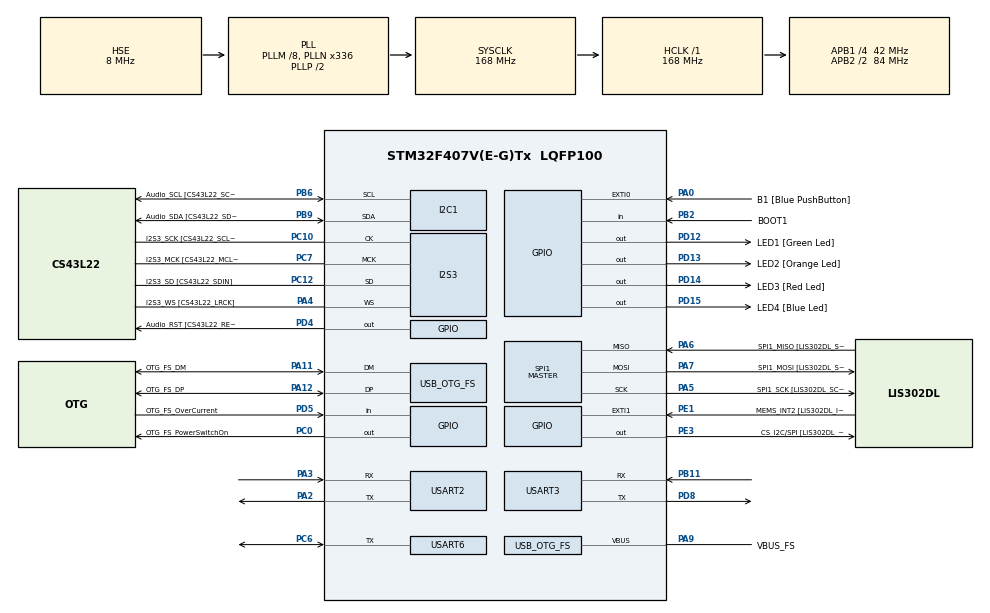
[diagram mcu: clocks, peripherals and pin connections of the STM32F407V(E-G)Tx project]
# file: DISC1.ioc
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I2S3.AudioFreq-Half_Duplex_Master=I2S_AUDIOFREQ_96K
I2S3.ErrorAudioFreq=-2.34 %
I2S3.ErrorAudioFreq-Half_Duplex_Master=0.8 %
I2S3.FullDuplexMode=I2S_FULLDUPLEXMODE_DISABLE
I2S3.Instance=SPI$Index
I2S3.RealAudioFreq=93.75 KHz
I2S3.RealAudioFreq-Half_Duplex_Master=96.774 KHz
I2S3.VirtualMode=I2S_MODE_MASTER
Mcu.Family=STM32F4
Mcu.Name=STM32F407V(E-G)Tx
Mcu.Package=LQFP100
NVIC.OTG_FS_IRQn=true\:0\:0\:false\:false\:true\:true\:true\:true
NVIC.PriorityGroup=NVIC_PRIORITYGROUP_0
NVIC.USART2_IRQn=true\:0\:0\:false\:false\:true\:true\:true\:true
NVIC.USART3_IRQn=true\:0\:0\:false\:false\:true\:true\:true\:true
NVIC.USART6_IRQn=true\:0\:0\:false\:false\:true\:true\:true\:true
PA0-WKUP.GPIO_Label=B1 [Blue PushButton]
PA0-WKUP.GPIO_ModeDefaultEXTI=GPIO_MODE_EVT_RISING
PA0-WKUP.GPIO_PuPd=GPIO_NOPULL
PA0-WKUP.Signal=GPXTI0
PA10.GPIO_Label=OTG_FS_ID
PA10.GPIO_Mode=GPIO_MODE_AF_PP
PA10.GPIO_PuPd=GPIO_NOPULL
PA10.GPIO_Speed=GPIO_SPEED_FREQ_LOW
PA10.Signal=USB_OTG_FS_ID
PA11.GPIO_Label=OTG_FS_DM
PA11.GPIO_Mode=GPIO_MODE_AF_PP
PA11.GPIO_PuPd=GPIO_NOPULL
PA11.GPIO_Speed=GPIO_SPEED_FREQ_LOW
PA11.Mode=Host_Only
PA11.Signal=USB_OTG_FS_DM
PA12.GPIO_Label=OTG_FS_DP
PA12.GPIO_Mode=GPIO_MODE_AF_PP
PA12.GPIO_PuPd=GPIO_NOPULL
PA12.GPIO_Speed=GPIO_SPEED_FREQ_LOW
PA12.Mode=Host_Only
PA12.Signal=USB_OTG_FS_DP
PA13.GPIO_Label=SWDIO
PA13.Mode=Serial_Wire
PA13.Signal=SYS_JTMS-SWDIO
PA14.GPIO_Label=SWCLK
PA14.Mode=Serial_Wire
PA14.Signal=SYS_JTCK-SWCLK
PA2.Mode=Asynchronous
PA2.Signal=USART2_TX
PA3.Mode=Asynchronous
PA3.Signal=USART2_RX
PA4.GPIO_Label=I2S3_WS [CS43L22_LRCK]
PA4.GPIO_Mode=GPIO_MODE_AF_PP
PA4.GPIO_PuPd=GPIO_NOPULL
PA4.GPIO_Speed=GPIO_SPEED_FREQ_LOW
PA4.Mode=Half_Duplex_Master
PA4.Signal=I2S3_WS
PA5.GPIO_Label=SPI1_SCK [LIS302DL_SCL/SPC]
PA5.GPIO_Mode=GPIO_MODE_AF_PP
PA5.GPIO_PuPd=GPIO_NOPULL
PA5.GPIO_Speed=GPIO_SPEED_FREQ_LOW
PA5.Mode=Full_Duplex_Master
PA5.Signal=SPI1_SCK
PA6.GPIO_Label=SPI1_MISO [LIS302DL_SDO]
PA6.GPIO_Mode=GPIO_MODE_AF_PP
PA6.GPIO_PuPd=GPIO_NOPULL
PA6.GPIO_Speed=GPIO_SPEED_FREQ_LOW
PA6.Mode=Full_Duplex_Master
PA6.Signal=SPI1_MISO
PA7.GPIO_Label=SPI1_MOSI [LIS302DL_SDA/SDI/SDO]
PA7.GPIO_Mode=GPIO_MODE_AF_PP
PA7.GPIO_PuPd=GPIO_NOPULL
PA7.GPIO_Speed=GPIO_SPEED_FREQ_LOW
PA7.Mode=Full_Duplex_Master
PA7.Signal=SPI1_MOSI
PA9.GPIO_Label=VBUS_FS
PA9.GPIO_Mode=GPIO_MODE_INPUT
PA9.GPIO_PuPd=GPIO_NOPULL
PA9.Mode=Activate_VBUS
PA9.Signal=USB_OTG_FS_VBUS
PB10.GPIO_Label=CLK_IN [MP45DT02_CLK]
PB10.GPIO_Mode=GPIO_MODE_AF_PP
PB10.GPIO_PuPd=GPIO_NOPULL
PB10.GPIO_Speed=GPIO_SPEED_FREQ_LOW
PB10.Signal=I2S2_CK
PB11.Mode=Asynchronous
PB11.Signal=USART3_RX
PB2.GPIO_Label=BOOT1
PB2.GPIO_Mode=GPIO_MODE_INPUT
PB2.GPIO_PuPd=GPIO_NOPULL
PB2.Signal=GPIO_Input
PB3.GPIO_Label=SWO
PB3.Signal=SYS_JTDO-SWO
PB6.GPIO_Label=Audio_SCL [CS43L22_SCL]
PB6.GPIO_Mode=GPIO_MODE_AF_OD
PB6.GPIO_Pu=GPIO_PULLUP
PB6.GPIO_PuPd=GPIO_NOPULL
PB6.GPIO_Speed=GPIO_SPEED_FREQ_LOW
PB6.Mode=I2C
PB6.Signal=I2C1_SCL
PB9.GPIO_Label=Audio_SDA [CS43L22_SDA]
PB9.GPIO_Mode=GPIO_MODE_AF_OD
PB9.GPIO_Pu=GPIO_PULLUP
PB9.GPIO_PuPd=GPIO_NOPULL
PB9.GPIO_Speed=GPIO_SPEED_FREQ_LOW
PB9.Mode=I2C
PB9.Signal=I2C1_SDA
PC0.GPIO_Label=OTG_FS_PowerSwitchOn
PC0.GPIO_PuPd=GPIO_NOPULL
PC0.GPIO_Speed=GPIO_SPEED_FREQ_LOW
PC0.PinState=GPIO_PIN_SET
PC0.Signal=GPIO_Output
PC10.GPIO_Label=I2S3_SCK [CS43L22_SCLK]
PC10.GPIO_Mode=GPIO_MODE_AF_PP
PC10.GPIO_PuPd=GPIO_NOPULL
PC10.GPIO_Speed=GPIO_SPEED_FREQ_LOW
PC10.Mode=Half_Duplex_Master
PC10.Signal=I2S3_CK
PC12.GPIO_Label=I2S3_SD [CS43L22_SDIN]
PC12.GPIO_Mode=GPIO_MODE_AF_PP
PC12.GPIO_PuPd=GPIO_NOPULL
PC12.GPIO_Speed=GPIO_SPEED_FREQ_LOW
PC12.Mode=Half_Duplex_Master
PC12.Signal=I2S3_SD
PC14-OSC32_IN.GPIO_Label=PC14-OSC32_IN
PC14-OSC32_IN.Mode=LSE-External-Oscillator
PC14-OSC32_IN.Signal=RCC_OSC32_IN
PC15-OSC32_OUT.GPIO_Label=PC15-OSC32_OUT
PC15-OSC32_OUT.Mode=LSE-External-Oscillator
PC15-OSC32_OUT.Signal=RCC_OSC32_OUT
PC3.GPIO_Label=PDM_OUT [MP45DT02_DOUT]
PC3.GPIO_Mode=GPIO_MODE_AF_PP
PC3.GPIO_PuPd=GPIO_NOPULL
PC3.GPIO_Speed=GPIO_SPEED_FREQ_LOW
PC3.Signal=I2S2_SD
PC6.Mode=Half_duplex(single_wire_mode)
PC6.Signal=USART6_TX
PC7.GPIO_Label=I2S3_MCK [CS43L22_MCLK]
PC7.GPIO_Mode=GPIO_MODE_AF_PP
PC7.GPIO_PuPd=GPIO_NOPULL
PC7.GPIO_Speed=GPIO_SPEED_FREQ_LOW
PC7.Mode=Master_Clock_Activated
PC7.Signal=I2S3_MCK
PD12.GPIO_Label=LED1 [Green Led]
PD12.GPIO_PuPd=GPIO_NOPULL
PD12.GPIO_Speed=GPIO_SPEED_FREQ_LOW
PD12.Signal=GPIO_Output
PD13.GPIO_Label=LED2 [Orange Led]
PD13.GPIO_PuPd=GPIO_NOPULL
PD13.GPIO_Speed=GPIO_SPEED_FREQ_LOW
PD13.Signal=GPIO_Output
PD14.GPIO_Label=LED3 [Red Led]
PD14.GPIO_PuPd=GPIO_NOPULL
PD14.GPIO_Speed=GPIO_SPEED_FREQ_LOW
PD14.Signal=GPIO_Output
PD15.GPIO_Label=LED4 [Blue Led]
PD15.GPIO_PuPd=GPIO_NOPULL
PD15.GPIO_Speed=GPIO_SPEED_FREQ_LOW
PD15.Signal=GPIO_Output
PD4.GPIO_Label=Audio_RST [CS43L22_RESET]
PD4.GPIO_PuPd=GPIO_NOPULL
PD4.GPIO_Speed=GPIO_SPEED_FREQ_LOW
PD4.Signal=GPIO_Output
PD5.GPIO_Label=OTG_FS_OverCurrent
PD5.GPIO_Mode=GPIO_MODE_INPUT
PD5.GPIO_PuPd=GPIO_NOPULL
PD5.Signal=GPIO_Input
PD8.Mode=Asynchronous
PD8.Signal=USART3_TX
PE1.GPIO_Label=MEMS_INT2 [LIS302DL_INT2]
PE1.GPIO_ModeDefaultEXTI=GPIO_MODE_EVT_RISING
PE1.GPIO_PuPd=GPIO_NOPULL
PE1.Signal=GPXTI1
PE3.GPIO_Label=CS_I2C/SPI [LIS302DL_CS_I2C/SPI]
PE3.GPIO_PuPd=GPIO_NOPULL
PE3.GPIO_Speed=GPIO_SPEED_FREQ_LOW
PE3.Signal=GPIO_Output
PH0-OSC_IN.GPIO_Label=PH0-OSC_IN
PH0-OSC_IN.Mode=HSE-External-Oscillator
PH0-OSC_IN.Signal=RCC_OSC_IN
PH1-OSC_OUT.GPIO_Label=PH1-OSC_OUT
PH1-OSC_OUT.Mode=HSE-External-Oscillator
PH1-OSC_OUT.Signal=RCC_OSC_OUT
ProjectManager.HeapSize=0x200
ProjectManager.StackSize=0x400
ProjectManager.TargetToolchain=Makefile
RCC.48MHZClocksFreq_Value=48000000
RCC.AHBFreq_Value=168000000
RCC.APB1CLKDivider=RCC_HCLK_DIV4
RCC.APB1Freq_Value=42000000
RCC.APB1TimFreq_Value=84000000
RCC.APB2CLKDivider=RCC_HCLK_DIV2
RCC.APB2Freq_Value=84000000
RCC.APB2TimFreq_Value=168000000
RCC.CortexFreq_Value=168000000
RCC.HCLKFreq_Value=168000000
RCC.HSE_VALUE=8000000
RCC.HSI_VALUE=16000000
RCC.PLLM=8
RCC.PLLN=336
RCC.PLLQ=7
RCC.SYSCLKFreq_VALUE=168000000
RCC.SYSCLKSource=RCC_SYSCLKSOURCE_PLLCLK
RCC.VCOOutputFreq_Value=336000000
SPI1.BaudRatePrescaler-Full_Duplex_Master=SPI_BAUDRATEPRESCALER_2
SPI1.CalculateBaudRate-Full_Duplex_Master=42.0 MBits/s
SPI1.Direction=SPI_DIRECTION_2LINES
SPI1.Mode=SPI_MODE_MASTER
SPI1.Mode-Full_Duplex_Master=SPI_MODE_MASTER
SPI1.VirtualType=VM_MASTER
USART2.VirtualMode=VM_ASYNC
USART3.VirtualMode=VM_ASYNC
USART6.VirtualMode=VM_ASYNC
USB_HOST.BSP.number=1
USB_HOST.USBH_HandleTypeDef-CDC_FS=hUsbHostFS
USB_HOST.VirtualModeFS=Cdc
USB_HOST0.BSP.STBoard=false
USB_HOST0.BSP.api=Unknown
USB_HOST0.BSP.instance=PC0
USB_HOST0.BSP.ip=GPIO
USB_HOST0.BSP.mode=Output
USB_HOST0.BSP.name=Drive_VBUS_FS
USB_HOST0.BSP.solution=PC0
USB_OTG_FS.VirtualMode=Host_Only
USB_OTG_FS.phy_itface=HCD_PHY_EMBEDDED
VP_USB_HOST_VS_USB_HOST_CDC_FS.Mode=CDC_FS
board=STM32F407G-DISC1

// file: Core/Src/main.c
/* USER CODE BEGIN Header */
/**
  ******************************************************************************
  * @file           : main.c
  * @brief          : Main program body
  ******************************************************************************
  * @attention
  *
  * Copyright (c) 2025 STMicroelectronics.
  * All rights reserved.
  *
  * This software is licensed under terms that can be found in the LICENSE file
  * in the root directory of this software component.
  * If no LICENSE file comes with this software, it is provided AS-IS.
  *
  ******************************************************************************
  */
/* USER CODE END Header */
#include "main.h"
#include "i2c.h"
#include "i2s.h"
#include "spi.h"
#include "usart.h"
#include "usb_host.h"
#include "gpio.h"

/* USER CODE BEGIN Includes */
#include <stdio.h>
#include <stdlib.h>
#include <string.h>
/* USER CODE END Includes */

/* USER CODE BEGIN PD */

#define JOINT1_HOME 0
#define JOINT2_HOME 45
#define JOINT3_HOME 0
#define JOINT4_HOME 0
#define JOINT5_HOME 0
#define ACTUATOR_HOME 0
#define MAIN_UART &huart2
#define MAIN_UART_INSTANCE USART2

/* USER CODE END PD */

/* USER CODE BEGIN PV */
#define UART_BUFFER_SIZE 256
volatile uint8_t rx_byte;                        // For receiving single byte
volatile uint8_t uart_buffer[UART_BUFFER_SIZE];  // Circular buffer
volatile uint16_t buffer_index = 0;     // Index for storing data

volatile uint8_t uart_received = 0; // Flag to indicate a new message is available
volatile char received_string[UART_BUFFER_SIZE]; // Store the received string
volatile char previous_string[UART_BUFFER_SIZE]; // Store the received string

int joint1 = JOINT1_HOME;
int joint2 = JOINT2_HOME;
int joint3 = JOINT3_HOME;
int joint4 = JOINT4_HOME;
int joint5 = JOINT5_HOME;
int actuator = ACTUATOR_HOME;
int ledFlag = 0;

int prev_joint1, prev_joint2, prev_joint3, prev_joint4, prev_joint5, prev_actuator;

/* USER CODE END PV */

void SystemClock_Config(void);
void MX_USB_HOST_Process(void);

/* USER CODE BEGIN PFP */
#define PUTCHAR_PROTOTYPE int __io_putchar(int ch)

#define PUTCHAR_PROTOTYPE_USART3 int __io_putchar_usart3(int ch)
#define printf_usart3(...) do { \
    char buffer[256]; \
    int len = snprintf(buffer, sizeof(buffer), __VA_ARGS__); \
    for (int i = 0; i < len; i++) { \
        __io_putchar_usart3(buffer[i]); \
    } \
} while (0)

#define PUTCHAR_PROTOTYPE_USART6 int __io_putchar_usart6(int ch)
#define printf_usart6(...) do { \
    char buffer[256]; \
    int len = snprintf(buffer, sizeof(buffer), __VA_ARGS__); \
    for (int i = 0; i < len; i++) { \
        __io_putchar_usart6(buffer[i]); \
    } \
} while (0)
/* USER CODE END PFP */

int main(void)
{

  /* MCU Configuration--------------------------------------------------------*/

  /* Reset of all peripherals, Initializes the Flash interface and the Systick. */
  HAL_Init();

  /* Configure the system clock */
  SystemClock_Config();

  /* Initialize all configured peripherals */
  MX_GPIO_Init();
  MX_I2C1_Init();
  MX_I2S3_Init();
  MX_SPI1_Init();
  MX_USART2_UART_Init();
  MX_USART3_UART_Init();
  MX_USART6_UART_Init();
  MX_USB_HOST_Init();
  /* USER CODE BEGIN 2 */

  HAL_UART_Receive_IT(MAIN_UART, &rx_byte, 1); // Start receiving single bytes in interrupt mode
  // HomeSet(); // Set all joints to home position
  ToggleLEDs(1);
  printf("System Initialized\r\n");

  /* USER CODE END 2 */

  /* Infinite loop */
  while (1)
  {
    MX_USB_HOST_Process();
    ToggleLEDs(ledFlag);

  }
}

void SystemClock_Config(void)
{
  RCC_OscInitTypeDef RCC_OscInitStruct = {0};
  RCC_ClkInitTypeDef RCC_ClkInitStruct = {0};

  /** Configure the main internal regulator output voltage
  */
  __HAL_RCC_PWR_CLK_ENABLE();
  __HAL_PWR_VOLTAGESCALING_CONFIG(PWR_REGULATOR_VOLTAGE_SCALE1);

  /** Initializes the RCC Oscillators according to the specified parameters
  * in the RCC_OscInitTypeDef structure.
  */
  RCC_OscInitStruct.OscillatorType = RCC_OSCILLATORTYPE_HSE;
  RCC_OscInitStruct.HSEState = RCC_HSE_ON;
  RCC_OscInitStruct.PLL.PLLState = RCC_PLL_ON;
  RCC_OscInitStruct.PLL.PLLSource = RCC_PLLSOURCE_HSE;
  RCC_OscInitStruct.PLL.PLLM = 8;
  RCC_OscInitStruct.PLL.PLLN = 336;
  RCC_OscInitStruct.PLL.PLLP = RCC_PLLP_DIV2;
  RCC_OscInitStruct.PLL.PLLQ = 7;
  if (HAL_RCC_OscConfig(&RCC_OscInitStruct) != HAL_OK)
  {
    Error_Handler();
  }

  /** Initializes the CPU, AHB and APB buses clocks
  */
  RCC_ClkInitStruct.ClockType = RCC_CLOCKTYPE_HCLK|RCC_CLOCKTYPE_SYSCLK
                              |RCC_CLOCKTYPE_PCLK1|RCC_CLOCKTYPE_PCLK2;
  RCC_ClkInitStruct.SYSCLKSource = RCC_SYSCLKSOURCE_PLLCLK;
  RCC_ClkInitStruct.AHBCLKDivider = RCC_SYSCLK_DIV1;
  RCC_ClkInitStruct.APB1CLKDivider = RCC_HCLK_DIV4;
  RCC_ClkInitStruct.APB2CLKDivider = RCC_HCLK_DIV2;

  if (HAL_RCC_ClockConfig(&RCC_ClkInitStruct, FLASH_LATENCY_5) != HAL_OK)
  {
    Error_Handler();
  }
}

/* USER CODE BEGIN 4 */

/**
  * @brief  Retargets the C library printf function to the USART.
  * @retval None
  */
 PUTCHAR_PROTOTYPE
 {
   /* Place your implementation of fputc here */
   /* e.g. write a character to the USART1 and Loop until the end of transmission */
   HAL_UART_Transmit(MAIN_UART, (uint8_t *)&ch, 1, 0xFFFF);

   return ch;
 }

 PUTCHAR_PROTOTYPE_USART3
 {
    /* Place your implementation of fputc here */
    /* e.g. write a character to the USART3 and Loop until the end of transmission */
    HAL_UART_Transmit(&huart3, (uint8_t *)&ch, 1, 0xFFFF);

    return ch;
 }

 PUTCHAR_PROTOTYPE_USART6
 {
    /* Place your implementation of fputc here */
    /* e.g. write a character to the USART6 and Loop until the end of transmission */
    HAL_UART_Transmit(&huart6, (uint8_t *)&ch, 1, 0xFFFF);

    return ch;
 }

 void HAL_UART_RxCpltCallback(UART_HandleTypeDef *huart)
{

    if (huart->Instance == MAIN_UART_INSTANCE) // Correct UART instance
    {
        // Store received byte in buffer
        if (buffer_index < UART_BUFFER_SIZE - 1)
        {
            uart_buffer[buffer_index++] = rx_byte;

            // Check for newline or carriage return
            if (rx_byte == '\n')
            {
                uart_buffer[buffer_index] = '\0'; // Null-terminate the string
                buffer_index = 0;                // Reset the index for the next string

                // Copy received string to the global buffer for main loop access
                strcpy((char *)received_string, (char *)uart_buffer);

                if(strcmp("print", (char* )received_string)){
                  ProcessReceivedString((char *)received_string);
                  strcpy((char *)previous_string, (char *)received_string);
                }
                else if(strcmp((char *)received_string, (char *)previous_string)){
                  ProcessReceivedString((char *)received_string);
                  strcpy((char *)previous_string, (char *)received_string);
                }

            }
        }
        else
        {
            // Buffer overflow, reset index
            buffer_index = 0;
            printf("Buffer overflow\r\n");
        }

        // Restart UART reception for the next byte
        HAL_UART_Receive_IT(MAIN_UART, &rx_byte, 1);
    }
}

// Function to process the received string
void ProcessReceivedString(char *str)
{
    // Check if the string starts with "set"
    if (strncmp(str, "set", 3) == 0)
    {
        // Move the pointer to after "set" and the space
        str += 4;  // Skip "set " (4 characters)

        // Now we expect a format like "000-000-000-000-000-000"
        if (sscanf(str, "%3d-%3d-%3d-%3d-%3d-%3d", &joint1, &joint2, &joint3, &joint4, &joint5, &actuator) == 6)
        {
            // Successfully parsed the 6 numbers
            printf("Received numbers: %d %d %d %d %d %d\r\n", joint1, joint2, joint3, joint4, joint5, actuator);

            // Check for changes in each joint and send new values if changed
            if (joint1 != prev_joint1) {
                // send to joint
                prev_joint1 = joint1;
                Joint1Set(joint1);
            }
            if (joint2 != prev_joint2) {
                // send to joint
                prev_joint2 = joint2;
                Joint2Set(joint2);
            }
            if (joint3 != prev_joint3) {
                // send to joint
                prev_joint3 = joint3;
                Joint3Set(joint3);
            }
            if (joint4 != prev_joint4) {
                // send to joint
                prev_joint4 = joint4;
            }
            if (joint5 != prev_joint5) {
                // send to joint
                prev_joint5 = joint5;
            }
            if (actuator != prev_actuator) {
                // send to actuator
                prev_actuator = actuator;
            }
        }
        else
        {
            printf("Invalid format!\r\n");
        }
    }
    // Just setting joint1
    else if (strncmp(str, "joint1", 6) == 0)
    {
        str += 7;

        if (sscanf(str, "%3d", &joint1) == 1)
        {
            // Successfully parsed joint1
            printf("Joint1 set: %d\r\n", joint1);

            if (joint1 != prev_joint1) {
                Joint1Set(joint1);
                prev_joint1 = joint1;
            }
        }
        else
        {
            printf("Invalid format!\r\n");
        }
    }

    // Just setting joint2
    else if (strncmp(str, "joint2", 6) == 0)
    {
        str += 7;

        if (sscanf(str, "%3d", &joint2) == 1)
        {
            // Successfully parsed joint2
            printf("Joint2 set: %d\r\n", joint2);

            if (joint2 != prev_joint2) {
                Joint2Set(joint2);
                prev_joint2 = joint2;
            }
        }
        else
        {
            printf("Invalid format!\r\n");
        }
    }

    // Just setting joint3
    else if (strncmp(str, "joint3", 6) == 0)
    {
        str += 7;

        if (sscanf(str, "%3d", &joint3) == 1)
        {
            // Successfully parsed joint3
            printf("Joint3 set: %d\r\n", joint3);

            if (joint3 != prev_joint3) {
                Joint3Set(joint3);
                prev_joint3 = joint3;
            }
        }
        else
        {
            printf("Invalid format!\r\n");
        }
    }

    // Just setting joint4
    else if (strncmp(str, "joint4", 6) == 0)
    {
        str += 7;

        if (sscanf(str, "%3d", &joint4) == 1)
        {
            // Successfully parsed joint4
            printf("Joint4 set: %d\r\n", joint4);

            if (joint4 != prev_joint4) {
                Joint4Set(joint4);
                prev_joint4 = joint4;
            }
        }
        else
        {
            printf("Invalid format!\r\n");
        }
    }

    // Just setting joint5
    else if (strncmp(str, "joint5", 6) == 0)
    {
        str += 7;

        if (sscanf(str, "%3d", &joint5) == 1)
        {
            // Successfully parsed joint5
            printf("Joint5 set: %d\r\n", joint5);

            if (joint5 != prev_joint5) {
                Joint5Set(joint5);
                prev_joint5 = joint5;
            }
        }
        else
        {
            printf("Invalid format!\r\n");
        }
    }

    // Just setting actuator
    else if (strncmp(str, "actuator", 8) == 0)
    {
        str += 9;

        if (sscanf(str, "%3d", &actuator) == 1)
        {
            // Successfully parsed joint5
            printf("Actuator set: %d\r\n", actuator);

            if (actuator != actuator) {
                ActuatorSet(actuator);
                prev_actuator = actuator;
            }
        }
        else
        {
            printf("Invalid format!\r\n");
        }
    }

    // Set Home
    else if (strncmp(str, "home", 4) == 0)
    {
        str += 5;

        HomeSet();

        printf("Set all joints home\r\n");

    }

    else if (strncmp(str, "flash", 5) == 0)
    {
        str += 6;
        ledFlag = !ledFlag;

        printf("LEDs Toggled\r\n");

    }

    // Prints all joints
    else if (strncmp(str, "print", 5) == 0)
    {
       printf("Joint1: %d\r\n", joint1);
       printf("Joint2: %d\r\n", joint2);
       printf("Joint3: %d\r\n", joint3);
       printf("Joint4: %d\r\n", joint4);
       printf("Joint5: %d\r\n", joint5);
       printf("Actuator: %d\r\n", actuator);
    }

    // Echoes string if no keywords are sent
    else
    {
        printf("Received: %s\r\n", str);
    }
}

void ToggleLEDs(int state){
  /* Toggle LEDs sequentially */
  if(state){
    HAL_GPIO_TogglePin(LED1_GPIO_Port, LED1_Pin);
    HAL_Delay(100);
    HAL_GPIO_TogglePin(LED2_GPIO_Port, LED2_Pin);
    HAL_Delay(100);
    HAL_GPIO_TogglePin(LED3_GPIO_Port, LED3_Pin);
    HAL_Delay(100);
    HAL_GPIO_TogglePin(LED4_GPIO_Port, LED4_Pin);
    HAL_Delay(100);
  }else{
    HAL_GPIO_WritePin(LED1_GPIO_Port, LED1_Pin, GPIO_PIN_RESET);
    HAL_GPIO_WritePin(LED2_GPIO_Port, LED2_Pin, GPIO_PIN_RESET);
    HAL_GPIO_WritePin(LED3_GPIO_Port, LED3_Pin, GPIO_PIN_RESET);
    HAL_GPIO_WritePin(LED4_GPIO_Port, LED4_Pin, GPIO_PIN_RESET);
  }

}

void HomeSet(){
  //Set all joints to home
  joint1 = JOINT1_HOME;
  Joint1Set(joint1);
  joint2 = JOINT2_HOME;
  Joint2Set(joint2);
  joint3 = JOINT3_HOME;
  Joint3Set(joint3);
  joint4 = JOINT4_HOME;
  Joint4Set(joint4);
  joint5 = JOINT5_HOME;
  Joint5Set(joint5);
  actuator = ACTUATOR_HOME;
  ActuatorSet(actuator);
}

void Joint1Set(int theta){
  //Set joint

}

void Joint2Set(int theta){
  printf_usart3("%d\r\n", theta);

}

void Joint3Set(int theta){
  printf_usart6("%d\r\n", theta);

}

void Joint4Set(int theta){
  //Set joint

}

void Joint5Set(int theta){
  //Set joint

}

void ActuatorSet(int theta){
  //Set joint

}

/* USER CODE END 4 */

void Error_Handler(void)
{
  __disable_irq();
  while (1)
  {
  }
}
